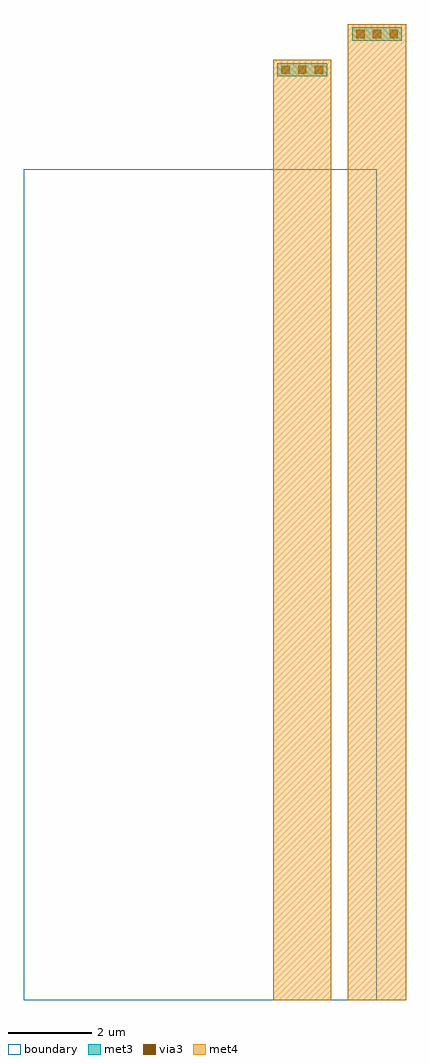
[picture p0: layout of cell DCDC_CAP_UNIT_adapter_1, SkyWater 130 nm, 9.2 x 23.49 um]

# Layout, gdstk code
import gdstk
lib = gdstk.Library(unit=1e-6, precision=1e-09)
def R(c, l, rs):  # rectangles x0, y0, x1, y1
    for r in rs: c.add(gdstk.rectangle(r[:2], r[2:], *l))
def A(c, l, x, y, w, h, nx, ny, dx, dy):  # array of equal rectangles
    R(c, l, [(x+i*dx, y+j*dy, x+i*dx+w, y+j*dy+h) for i in range(nx) for j in range(ny)])
met3 = (70, 20)
via3 = (70, 44)
met4 = (71, 20)
boundary = (235, 4)

via_via3_1200x480 = lib.new_cell('VIA_via3_1200x480')
R(via_via3_1200x480, met3, [(-0.6,-0.16,0.6,0.16)])
A(via_via3_1200x480, via3, -0.5, -0.1, 0.2, 0.2, 3, 1, 0.4, 0)
R(via_via3_1200x480, met4, [(-0.6,-0.24,0.6,0.24)])

dcdc_cap_unit_adapter_1 = lib.new_cell('DCDC_CAP_UNIT_adapter_1')
R(dcdc_cap_unit_adapter_1, met4, [(6,0,7.4,22.63), (7.8,0,9.2,23.49)])
R(dcdc_cap_unit_adapter_1, boundary, [(0,0,8.495,20)])
dcdc_cap_unit_adapter_1.add(gdstk.Reference(via_via3_1200x480, (6.7,22.39)))
dcdc_cap_unit_adapter_1.add(gdstk.Reference(via_via3_1200x480, (8.5,23.25)))

lib.write_gds('DCDC_CAP_UNIT_adapter_1.gds')
